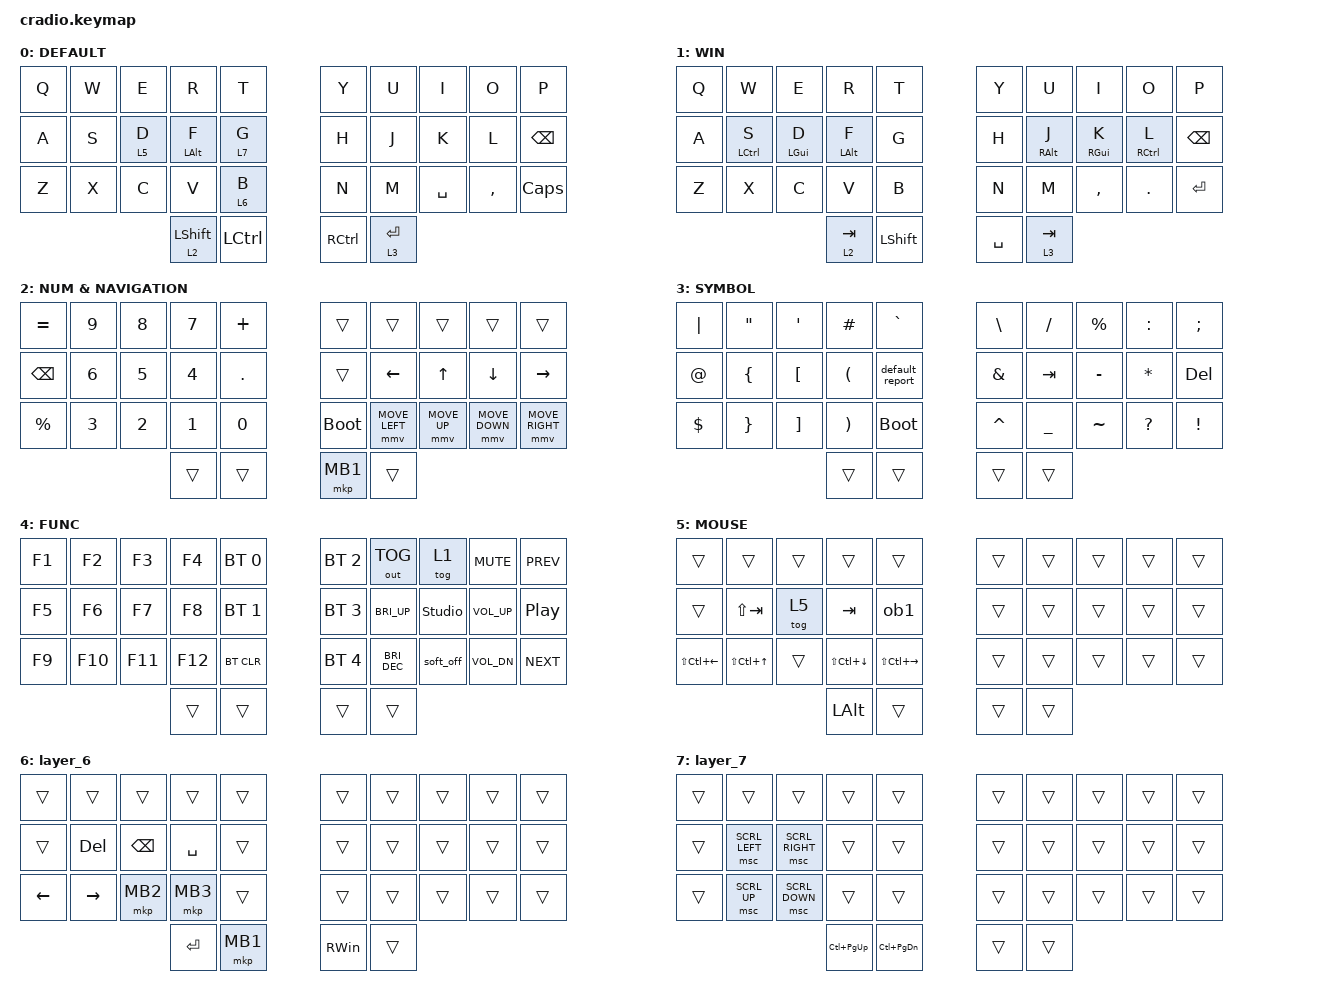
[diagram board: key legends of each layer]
// Copyright (c) 2022 The ZMK Contributors
// SPDX-License-Identifier: MIT

#define ZMK_POINTING_DEFAULT_MOVE_VAL 2500  // 600
#define ZMK_POINTING_DEFAULT_SCRL_VAL 20    // 10

#include <behaviors.dtsi>
#include <dt-bindings/zmk/bt.h>
#include <dt-bindings/zmk/keys.h>
#include <dt-bindings/zmk/outputs.h>
#include <dt-bindings/zmk/pointing.h>

#define MAC 0
#define WIN 1
#define RIG 2
#define LEF 3
#define TRI 4
#define MOUSE 5

// https://zmk.dev/docs/development/hardware-integration/soft-off-setup?advanced-methods=wakeup&kscan-type=dkscan

/ {
    keys {
        compatible = "gpio-keys";

        soft_off_gpio_key: soft_off_gpio_key { gpios = <&gpio1 6 (GPIO_ACTIVE_LOW | GPIO_PULL_UP)>; };
    };

    wakeup_scan: wakeup_scan {
        compatible = "zmk,kscan-gpio-direct";
        input-keys = <&soft_off_gpio_key>;
        wakeup-source;
    };

    side_band_behavior_triggers: side_band_behavior_triggers {
        compatible = "zmk,kscan-sideband-behaviors";
        kscan = <&wakeup_scan>;
        auto-enable;
        wakeup-source;
    };

    soft_off_wakers {
        compatible = "zmk,soft-off-wakeup-sources";
        wakeup-sources = <&wakeup_scan>;
    };
};

/ {
    chosen { zmk,charmap = &charmap_us; };

    behaviors {
        ht: hold_tap {
            label = "hold_tap";
            compatible = "zmk,behavior-hold-tap";
            #binding-cells = <2>;
            flavor = "balanced";
            tapping-term-ms = <200>;
            quick-tap-ms = <150>;
            global-quick-tap;
            bindings = <&kp>, <&kp>;
        };

        mmv {
            acceleration-exponent = <1>;      // 1
            time-to-max-speed-ms = <300>;    // 40
            delay-ms = <0>;                   // 0
        };

        msc {
            acceleration-exponent = <0>;      // 0
            time-to-max-speed-ms = <40>;      // 500
            delay-ms = <0>;                   // 10
        };
    };

    conditional_layers {
        compatible = "zmk,conditional-layers";

        tri_layer {
            if-layers = <2 3>;
            then-layer = <4>;
        };
    };

    macros {
        ob1: ob1 {
            compatible = "zmk,behavior-macro";
            #binding-cells = <0>;
            bindings = <&kp MINUS &kp SPACE>;
            label = "OB1";
        };
    };

    keymap {
        compatible = "zmk,keymap";

        default_layer {
            display-name = "DEFAULT";
            bindings = <
&kp Q  &kp W  &kp E    &kp R             &kp T        &kp Y      &kp U        &kp I      &kp O      &kp P
&kp A  &kp S  &lt 5 D  &ht LEFT_ALT F    &lt 7 G      &kp H      &kp J        &kp K      &kp L      &kp BSPC
&kp Z  &kp X  &kp C    &kp V             &lt 6 B      &kp N      &kp M        &kp SPACE  &kp COMMA  &kp CAPSLOCK
                       &lt 2 LEFT_SHIFT  &kp LCTRL    &kp RCTRL  &lt 3 ENTER
            >;
        };

        windows_layer {
            display-name = "WIN";
            bindings = <
&kp Q  &kp W        &kp E       &kp R           &kp T         &kp Y      &kp U            &kp I       &kp O        &kp P
&kp A  &ht LCTRL S  &ht LGUI D  &ht LEFT_ALT F  &kp G         &kp H      &ht RIGHT_ALT J  &ht RGUI K  &ht RCTRL L  &kp BSPC
&kp Z  &kp X        &kp C       &kp V           &kp B         &kp N      &kp M            &kp COMMA   &kp DOT      &kp ENTER
                                &lt 2 TAB       &kp LSHIFT    &kp SPACE  &lt 3 TAB
            >;
        };

        right_layer {
            display-name = "NUM & NAVIGATION";
            bindings = <
&kp EQUAL      &kp NUMBER_9  &kp NUMBER_8  &kp NUMBER_7  &kp PLUS        &trans       &trans          &trans        &trans          &trans
&kp BACKSPACE  &kp NUMBER_6  &kp N5        &kp NUMBER_4  &kp DOT         &trans       &kp LEFT        &kp UP_ARROW  &kp DOWN        &kp RIGHT
&kp PERCENT    &kp NUMBER_3  &kp NUMBER_2  &kp NUMBER_1  &kp NUMBER_0    &bootloader  &mmv MOVE_LEFT  &mmv MOVE_UP  &mmv MOVE_DOWN  &mmv MOVE_RIGHT
                                           &trans        &trans          &mkp MB1     &trans
            >;
        };

        left_layer {
            display-name = "SYMBOL";
            bindings = <
&kp PIPE    &kp DOUBLE_QUOTES  &kp SQT            &kp HASH  &kp GRAVE          &kp BACKSLASH  &kp FSLH   &kp PERCENT  &kp COLON     &kp SEMI
&kp AT      &kp LEFT_BRACE     &kp LEFT_BRACKET   &kp LPAR  &default_report    &kp AMPS       &kp TAB    &kp MINUS    &kp ASTERISK  &kp DELETE
&kp DOLLAR  &kp RIGHT_BRACE    &kp RIGHT_BRACKET  &kp RPAR  &bootloader        &kp CARET      &kp UNDER  &kp TILDE    &kp QUESTION  &kp EXCLAMATION
                                                  &trans    &trans             &trans         &trans
            >;
        };

        tri_layer {
            display-name = "FUNC";
            bindings = <
&kp F1  &kp F2   &kp F3   &kp F4   &bt BT_SEL 0    &bt BT_SEL 2  &out OUT_TOG   &tog 1          &kp C_MUTE    &kp C_PREV
&kp F5  &kp F6   &kp F7   &kp F8   &bt BT_SEL 1    &bt BT_SEL 3  &kp C_BRI_UP   &studio_unlock  &kp C_VOL_UP  &kp C_PP
&kp F9  &kp F10  &kp F11  &kp F12  &bt BT_CLR      &bt BT_SEL 4  &kp C_BRI_DEC  &soft_off       &kp C_VOL_DN  &kp C_NEXT
                          &trans   &trans          &trans        &trans
            >;
        };

        mouse {
            display-name = "MOUSE";
            bindings = <
&trans            &trans                &trans  &trans            &trans               &trans  &trans  &trans  &trans  &trans
&trans            &kp LS(TAB)           &tog 5  &kp TAB           &ob1                 &trans  &trans  &trans  &trans  &trans
&kp LS(LC(LEFT))  &kp LS(LC(UP_ARROW))  &trans  &kp LS(LC(DOWN))  &kp LS(LC(RIGHT))    &trans  &trans  &trans  &trans  &trans
                                                &kp LEFT_ALT      &trans               &trans  &trans
            >;
        };

        layer_6 {
            bindings = <
&trans    &trans      &trans         &trans     &trans      &trans         &trans  &trans  &trans  &trans
&trans    &kp DELETE  &kp BACKSPACE  &kp SPACE  &trans      &trans         &trans  &trans  &trans  &trans
&kp LEFT  &kp RIGHT   &mkp MB2       &mkp MB3   &trans      &trans         &trans  &trans  &trans  &trans
                                     &kp ENTER  &mkp MB1    &kp RIGHT_WIN  &trans
            >;
        };

        layer_7 {
            bindings = <
&trans  &trans          &trans           &trans           &trans               &trans  &trans  &trans  &trans  &trans
&trans  &msc SCRL_LEFT  &msc SCRL_RIGHT  &trans           &trans               &trans  &trans  &trans  &trans  &trans
&trans  &msc SCRL_UP    &msc SCRL_DOWN   &trans           &trans               &trans  &trans  &trans  &trans  &trans
                                         &kp LC(PAGE_UP)  &kp LC(PAGE_DOWN)    &trans  &trans
            >;
        };
    };
};
